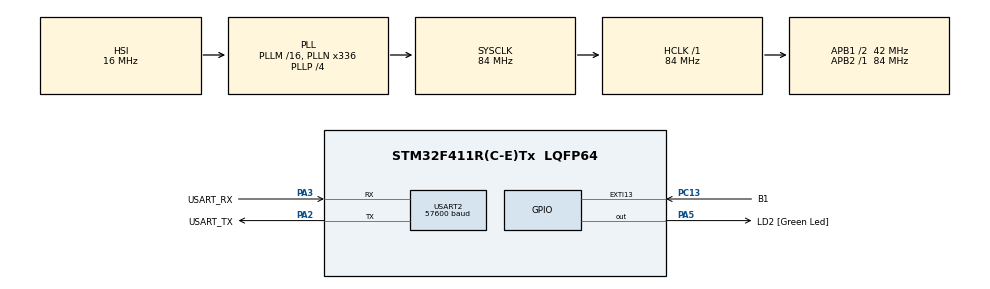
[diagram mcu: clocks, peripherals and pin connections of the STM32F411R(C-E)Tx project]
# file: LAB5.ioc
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Dma.Request0=USART2_RX
Dma.Request1=USART2_TX
Dma.USART2_RX.0.Direction=DMA_PERIPH_TO_MEMORY
Dma.USART2_RX.0.FIFOMode=DMA_FIFOMODE_DISABLE
Dma.USART2_RX.0.Instance=DMA1_Stream5
Dma.USART2_RX.0.MemDataAlignment=DMA_MDATAALIGN_BYTE
Dma.USART2_RX.0.MemInc=DMA_MINC_ENABLE
Dma.USART2_RX.0.Mode=DMA_CIRCULAR
Dma.USART2_RX.0.PeriphDataAlignment=DMA_PDATAALIGN_BYTE
Dma.USART2_RX.0.PeriphInc=DMA_PINC_DISABLE
Dma.USART2_RX.0.Priority=DMA_PRIORITY_LOW
Dma.USART2_TX.1.Direction=DMA_MEMORY_TO_PERIPH
Dma.USART2_TX.1.FIFOMode=DMA_FIFOMODE_DISABLE
Dma.USART2_TX.1.Instance=DMA1_Stream6
Dma.USART2_TX.1.MemDataAlignment=DMA_MDATAALIGN_BYTE
Dma.USART2_TX.1.MemInc=DMA_MINC_ENABLE
Dma.USART2_TX.1.Mode=DMA_NORMAL
Dma.USART2_TX.1.PeriphDataAlignment=DMA_PDATAALIGN_BYTE
Dma.USART2_TX.1.PeriphInc=DMA_PINC_DISABLE
Dma.USART2_TX.1.Priority=DMA_PRIORITY_LOW
Mcu.Family=STM32F4
Mcu.Name=STM32F411R(C-E)Tx
Mcu.Package=LQFP64
NVIC.DMA1_Stream5_IRQn=true\:0\:0\:false\:false\:true\:false\:true\:true
NVIC.DMA1_Stream6_IRQn=true\:0\:0\:false\:false\:true\:false\:true\:true
NVIC.PriorityGroup=NVIC_PRIORITYGROUP_0
NVIC.USART2_IRQn=true\:0\:0\:false\:false\:true\:true\:true\:true
PA13.GPIO_Label=TMS
PA13.Mode=Serial_Wire
PA13.Signal=SYS_JTMS-SWDIO
PA14.GPIO_Label=TCK
PA14.Mode=Serial_Wire
PA14.Signal=SYS_JTCK-SWCLK
PA2.GPIO_Label=USART_TX
PA2.Mode=Asynchronous
PA2.Signal=USART2_TX
PA3.GPIO_Label=USART_RX
PA3.Mode=Asynchronous
PA3.Signal=USART2_RX
PA5.GPIO_Label=LD2 [Green Led]
PA5.Signal=GPIO_Output
PB3.GPIO_Label=SWO
PB3.Signal=SYS_JTDO-SWO
PC13-ANTI_TAMP.GPIO_Label=B1
PC13-ANTI_TAMP.Signal=GPXTI13
PC14-OSC32_IN.Mode=LSE-External-Oscillator
PC14-OSC32_IN.Signal=RCC_OSC32_IN
PC15-OSC32_OUT.Mode=LSE-External-Oscillator
PC15-OSC32_OUT.Signal=RCC_OSC32_OUT
PH0\ -\ OSC_IN.Mode=HSE-External-Clock-Source
PH0\ -\ OSC_IN.Signal=RCC_OSC_IN
PH1\ -\ OSC_OUT.Mode=HSE-External-Clock-Source
PH1\ -\ OSC_OUT.Signal=RCC_OSC_OUT
ProjectManager.HeapSize=0x200
ProjectManager.StackSize=0x400
ProjectManager.TargetToolchain=STM32CubeIDE
RCC.48MHZClocksFreq_Value=84000000
RCC.AHBFreq_Value=84000000
RCC.APB1CLKDivider=RCC_HCLK_DIV2
RCC.APB1Freq_Value=42000000
RCC.APB1TimFreq_Value=84000000
RCC.APB2Freq_Value=84000000
RCC.APB2TimFreq_Value=84000000
RCC.CortexFreq_Value=84000000
RCC.FLatency-AdvancedSettings=FLASH_LATENCY_2
RCC.HCLKFreq_Value=84000000
RCC.HSE_VALUE=8000000
RCC.HSI_VALUE=16000000
RCC.PLLN=336
RCC.PLLP=RCC_PLLP_DIV4
RCC.SYSCLKFreq_VALUE=84000000
RCC.SYSCLKSource=RCC_SYSCLKSOURCE_PLLCLK
RCC.VCOOutputFreq_Value=336000000
USART2.BaudRate=57600
USART2.VirtualMode=VM_ASYNC
board=NUCLEO-F411RE

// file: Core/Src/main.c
/* USER CODE BEGIN Header */
/**
  ******************************************************************************
  * @file           : main.c
  * @brief          : Main program body
  ******************************************************************************
  * @attention
  *
  * Copyright (c) 2023 STMicroelectronics.
  * All rights reserved.
  *
  * This software is licensed under terms that can be found in the LICENSE file
  * in the root directory of this software component.
  * If no LICENSE file comes with this software, it is provided AS-IS.
  *
  ******************************************************************************
  */
/* USER CODE END Header */
#include "main.h"

/* USER CODE BEGIN Includes */
#include "stdio.h"
#include "string.h"
/* USER CODE END Includes */

UART_HandleTypeDef huart2;
DMA_HandleTypeDef hdma_usart2_rx;
DMA_HandleTypeDef hdma_usart2_tx;

/* USER CODE BEGIN PV */
uint8_t RxBuffer[1];
uint8_t TxBuffer[300];
uint16_t LEDHz = 1;
int ledstatus = 1;
uint8_t status;
uint8_t last_status;
/* USER CODE END PV */

void SystemClock_Config(void);
static void MX_GPIO_Init(void);
static void MX_DMA_Init(void);
static void MX_USART2_UART_Init(void);
/* USER CODE BEGIN PFP */
void MenuState();
void LEDLoop();
void UARTInterruptConfig();
void UARTDMAConfig();

/* USER CODE END PFP */

int main(void)
{

  /* MCU Configuration--------------------------------------------------------*/

  /* Reset of all peripherals, Initializes the Flash interface and the Systick. */
  HAL_Init();

  /* Configure the system clock */
  SystemClock_Config();

  /* Initialize all configured peripherals */
  MX_GPIO_Init();
  MX_DMA_Init();
  MX_USART2_UART_Init();
  /* USER CODE BEGIN 2 */

  UARTDMAConfig();
  MenuState();
  sprintf((char*)TxBuffer,"Choose your menu\r\n-----------------\r\n{0} LED Control\r\n{1} Button Status\r\n-----------------\r\n\r\n\r\n\r\n\r\n");
  HAL_UART_Transmit_DMA(&huart2, TxBuffer, strlen((char*)TxBuffer));
  /* USER CODE END 2 */

  /* Infinite loop */
  /* USER CODE BEGIN WHILE */
  while (1)
  {
//	  MenuState();
	  MenuState();
	  LEDLoop();

//	  HAL_GPIO_TogglePin(GPIOA, GPIO_PIN_0);
    /* USER CODE END WHILE */

  }
}

void SystemClock_Config(void)
{
  RCC_OscInitTypeDef RCC_OscInitStruct = {0};
  RCC_ClkInitTypeDef RCC_ClkInitStruct = {0};

  /** Configure the main internal regulator output voltage
  */
  __HAL_RCC_PWR_CLK_ENABLE();
  __HAL_PWR_VOLTAGESCALING_CONFIG(PWR_REGULATOR_VOLTAGE_SCALE1);

  /** Initializes the RCC Oscillators according to the specified parameters
  * in the RCC_OscInitTypeDef structure.
  */
  RCC_OscInitStruct.OscillatorType = RCC_OSCILLATORTYPE_HSI;
  RCC_OscInitStruct.HSIState = RCC_HSI_ON;
  RCC_OscInitStruct.HSICalibrationValue = RCC_HSICALIBRATION_DEFAULT;
  RCC_OscInitStruct.PLL.PLLState = RCC_PLL_ON;
  RCC_OscInitStruct.PLL.PLLSource = RCC_PLLSOURCE_HSI;
  RCC_OscInitStruct.PLL.PLLM = 16;
  RCC_OscInitStruct.PLL.PLLN = 336;
  RCC_OscInitStruct.PLL.PLLP = RCC_PLLP_DIV4;
  RCC_OscInitStruct.PLL.PLLQ = 4;
  if (HAL_RCC_OscConfig(&RCC_OscInitStruct) != HAL_OK)
  {
    Error_Handler();
  }

  /** Initializes the CPU, AHB and APB buses clocks
  */
  RCC_ClkInitStruct.ClockType = RCC_CLOCKTYPE_HCLK|RCC_CLOCKTYPE_SYSCLK
                              |RCC_CLOCKTYPE_PCLK1|RCC_CLOCKTYPE_PCLK2;
  RCC_ClkInitStruct.SYSCLKSource = RCC_SYSCLKSOURCE_PLLCLK;
  RCC_ClkInitStruct.AHBCLKDivider = RCC_SYSCLK_DIV1;
  RCC_ClkInitStruct.APB1CLKDivider = RCC_HCLK_DIV2;
  RCC_ClkInitStruct.APB2CLKDivider = RCC_HCLK_DIV1;

  if (HAL_RCC_ClockConfig(&RCC_ClkInitStruct, FLASH_LATENCY_2) != HAL_OK)
  {
    Error_Handler();
  }
}

static void MX_USART2_UART_Init(void)
{

  huart2.Instance = USART2;
  huart2.Init.BaudRate = 57600;
  huart2.Init.WordLength = UART_WORDLENGTH_8B;
  huart2.Init.StopBits = UART_STOPBITS_1;
  huart2.Init.Parity = UART_PARITY_NONE;
  huart2.Init.Mode = UART_MODE_TX_RX;
  huart2.Init.HwFlowCtl = UART_HWCONTROL_NONE;
  huart2.Init.OverSampling = UART_OVERSAMPLING_16;
  if (HAL_UART_Init(&huart2) != HAL_OK)
  {
    Error_Handler();
  }

}

static void MX_DMA_Init(void)
{

  /* DMA controller clock enable */
  __HAL_RCC_DMA1_CLK_ENABLE();

  /* DMA interrupt init */
  /* DMA1_Stream5_IRQn interrupt configuration */
  HAL_NVIC_SetPriority(DMA1_Stream5_IRQn, 0, 0);
  HAL_NVIC_EnableIRQ(DMA1_Stream5_IRQn);
  /* DMA1_Stream6_IRQn interrupt configuration */
  HAL_NVIC_SetPriority(DMA1_Stream6_IRQn, 0, 0);
  HAL_NVIC_EnableIRQ(DMA1_Stream6_IRQn);

}

static void MX_GPIO_Init(void)
{
  GPIO_InitTypeDef GPIO_InitStruct = {0};

  /* GPIO Ports Clock Enable */
  __HAL_RCC_GPIOC_CLK_ENABLE();
  __HAL_RCC_GPIOH_CLK_ENABLE();
  __HAL_RCC_GPIOA_CLK_ENABLE();
  __HAL_RCC_GPIOB_CLK_ENABLE();

  /*Configure GPIO pin Output Level */
  HAL_GPIO_WritePin(LD2_GPIO_Port, LD2_Pin, GPIO_PIN_RESET);

  /*Configure GPIO pin : B1_Pin */
  GPIO_InitStruct.Pin = B1_Pin;
  GPIO_InitStruct.Mode = GPIO_MODE_IT_RISING;
  GPIO_InitStruct.Pull = GPIO_NOPULL;
  HAL_GPIO_Init(B1_GPIO_Port, &GPIO_InitStruct);

  /*Configure GPIO pin : LD2_Pin */
  GPIO_InitStruct.Pin = LD2_Pin;
  GPIO_InitStruct.Mode = GPIO_MODE_OUTPUT_PP;
  GPIO_InitStruct.Pull = GPIO_NOPULL;
  GPIO_InitStruct.Speed = GPIO_SPEED_FREQ_LOW;
  HAL_GPIO_Init(LD2_GPIO_Port, &GPIO_InitStruct);

}

/* USER CODE BEGIN 4 */

void UARTDMAConfig()
{
	//start UART in DMA mode
	HAL_UART_Receive_DMA(&huart2, RxBuffer, 1);

}

void HAL_UART_RxCpltCallback(UART_HandleTypeDef *huart)
{
	if(huart == &huart2 )
	{
		//(for string only) Add string stop symbol \0 to end string
		RxBuffer[1] = '\0';
	}
}

void LEDLoop()
{
	static uint32_t timestamp = 0;
		if(HAL_GetTick() >= timestamp && ledstatus == 1)
		{
			timestamp = HAL_GetTick() + (1000/(LEDHz * 2));
			HAL_GPIO_TogglePin(LD2_GPIO_Port, LD2_Pin);
		}
}

void MenuState()
{
	static enum
		{
			Menu,
			LEDControl,
			buttonStatus,
		}State = Menu;

			switch(State)
			{
			case Menu:

				if(RxBuffer[0] == '0'){
					sprintf((char*)TxBuffer,"\r\n[ LED Control ]\r\n---------------\r\n{a} + 1 LED Hz\r\n{s} - 1 LED Hz\r\n{d} Turn on/off\r\n{x} back \r\n---------------\r\n\r\n\r\n\r\n");
					HAL_UART_Transmit_DMA(&huart2, TxBuffer, strlen((char*)TxBuffer));
					RxBuffer[0] = '\000';
					State = LEDControl;
				}
				else if(RxBuffer[0] == '1'){

					sprintf((char*)TxBuffer,"[Button Status]\r\n-----------------\r\nButton 1 is not pressed\r\n{x} back\r\n-----------------\r\n\r\n\r\n\r\n\r\n");
					HAL_UART_Transmit_DMA(&huart2, TxBuffer, strlen((char*)TxBuffer));
					RxBuffer[0] = '\000';
					State = buttonStatus;
				}
				else if(RxBuffer[0] != '0' && RxBuffer[0] != '1' && RxBuffer[0] != 'x' && RxBuffer[0] != '\000' && RxBuffer[0] != '\0'){
					RxBuffer[0] = '\000';
					sprintf((char*)TxBuffer,"  Choose your menu\r\n-----------------\r\n{0} LED Control\r\n{1} Button Status\r\n-------------------\r\n!!!Wrong button!!!\r\n\r\n\r\n\r\n");
					HAL_UART_Transmit_DMA(&huart2, TxBuffer, strlen((char*)TxBuffer));
				}
			break;

			case LEDControl:
				if(RxBuffer[0] == 'a'){
					LEDHz += 1;
					RxBuffer[0] = '\000';
					sprintf((char*)TxBuffer,"\r\n[ LED Control ]\r\n---------------\r\n{a} + 1 LED Hz\r\n{s} - 1 LED Hz\r\n{d} Turn on/off\r\n{x} back \r\n---------------\r\nLED Hz set to %d\r\n\r\n\r\n", LEDHz);
					HAL_UART_Transmit_DMA(&huart2, TxBuffer, strlen((char*)TxBuffer));

				}
				else if(RxBuffer[0] == 's'){
					if (LEDHz > 1){
					LEDHz -= 1;
					}
					RxBuffer[0] = '\000';
					sprintf((char*)TxBuffer,"\r\n[ LED Control ]\r\n---------------\r\n{a} + 1 LED Hz\r\n{s} - 1 LED Hz\r\n{d} Turn on/off\r\n{x} back \r\n---------------\r\nLED Hz set to %d\r\n\r\n\r\n", LEDHz);
					HAL_UART_Transmit_DMA(&huart2, TxBuffer, strlen((char*)TxBuffer));

				}
				else if(RxBuffer[0] == 'd'){
					if(ledstatus == 1){
						RxBuffer[0] = '\000';

						ledstatus = 0;
						HAL_GPIO_WritePin(LD2_GPIO_Port, LD2_Pin, GPIO_PIN_RESET);
						sprintf((char*)TxBuffer,"\r\n[ LED Control ]\r\n---------------\r\n{a} + 1 LED Hz\r\n{s} - 1 LED Hz\r\n{d} Turn on/off\r\n{x} back \r\n---------------\r\nLED turned off\r\n\r\n\r\n", LEDHz);
						HAL_UART_Transmit_DMA(&huart2, TxBuffer, strlen((char*)TxBuffer));
					}
					else if(ledstatus == 0){
						RxBuffer[0] = '\000';

						ledstatus = 1;
						sprintf((char*)TxBuffer,"\r\n[ LED Control ]\r\n---------------\r\n{a} + 1 LED Hz\r\n{s} - 1 LED Hz\r\n{d} Turn on/off\r\n{x} back \r\n---------------\r\nLED turned on\r\nLED Hz set to %d\r\n\r\n", LEDHz);
						HAL_UART_Transmit_DMA(&huart2, TxBuffer, strlen((char*)TxBuffer));
					}

				}

				else if(RxBuffer[0] == 'x'){
					RxBuffer[0] = '\000';

					  sprintf((char*)TxBuffer,"Choose your menu\r\n-----------------\r\n{0} LED Control\r\n{1} Button Status\r\n-----------------\r\n\r\n\r\n\r\n\r\n");
				    HAL_UART_Transmit_DMA(&huart2, TxBuffer, strlen((char*)TxBuffer));
					State = Menu;
				}
				else if(RxBuffer[0] != 'a' && RxBuffer[0] != 's' && RxBuffer[0] != 'd' && RxBuffer[0] != 'x' && RxBuffer[0] != '\000' && RxBuffer[0] != '\0'){
					sprintf((char*)TxBuffer,"\r\n[ LED Control ]\r\n---------------\r\n{a} + 1 LED Hz\r\n{s} - 1 LED Hz\r\n{d} Turn on/off\r\n{x} back \r\n---------------\r\n!!!Wrong button!!!\r\n\r\n\r\n", LEDHz);
					HAL_UART_Transmit_DMA(&huart2, TxBuffer, strlen((char*)TxBuffer));
					RxBuffer[0] = '\000';

				}
			break;

			case buttonStatus:
				status = HAL_GPIO_ReadPin(GPIOC, GPIO_PIN_13);
				if(!status && status != last_status){
					sprintf((char*)TxBuffer,"[Button Status]\r\n-----------------\r\nButton 1 is pressed\r\n{x} back\r\n-----------------\r\n\r\n\r\n\r\n\r\n");
					HAL_UART_Transmit_DMA(&huart2, TxBuffer, strlen((char*)TxBuffer));

				}
				else if(status && status != last_status){
					sprintf((char*)TxBuffer,"[Button Status]\r\n-----------------\r\nButton 1 is not pressed\r\n{x} back\r\n-----------------\r\n\r\n\r\n\r\n\r\n");
					HAL_UART_Transmit_DMA(&huart2, TxBuffer, strlen((char*)TxBuffer));

				}

				else if(RxBuffer[0] == 'x'){

					  sprintf((char*)TxBuffer,"Choose your menu\r\n-----------------\r\n{0} LED Control\r\n{1} Button Status\r\n-----------------\r\n\r\n\r\n\r\n\r\n");
					HAL_UART_Transmit_DMA(&huart2, TxBuffer, strlen((char*)TxBuffer));
					RxBuffer[0] = '\000';

					State = Menu;
				}
				else if(RxBuffer[0] != 'x' && RxBuffer[0] != '\000' && RxBuffer[0] != '\0'){
					sprintf((char*)TxBuffer,"[Button Status]\r\n-----------------\r\nButton 1 is not pressed\r\n{x} back\r\n-----------------\r\n!!!Wrong button!!!\r\n\r\n\r\n\r\n");
					HAL_UART_Transmit_DMA(&huart2, TxBuffer, strlen((char*)TxBuffer));
					RxBuffer[0] = '\000';

				}
				last_status = status;
			break;

			}

}
//HAL_GPIO_EXTI_Callback(uint16_t GPIO_Pin)
//{
//	if(GPIO_Pin == GPIO_PIN_13 && buttonstatusmode == 1)
//	{
//		if(HAL_GPIO_ReadPin(GPIOC, GPIO_PIN_13) == GPIO_PIN_RESET ){
//			sprintf((char*)TxBuffer,"[Button Status]\r\n-----------------\r\nButton 1 is pressed\r\n{x} back\r\n-----------------\r\n\r\n\r\n\r\n\r\n");
//			HAL_UART_Transmit_DMA(&huart2, TxBuffer, strlen((char*)TxBuffer));
//
//		}
//		else if(HAL_GPIO_ReadPin(GPIOC, GPIO_PIN_13) == GPIO_PIN_SET ){
//			sprintf((char*)TxBuffer,"[Button Status]\r\n-----------------\r\nButton 1 is not pressed\r\n{x} back\r\n-----------------\r\n\r\n\r\n\r\n\r\n");
//			HAL_UART_Transmit_DMA(&huart2, TxBuffer, strlen((char*)TxBuffer));
//
//		}
//	}
//}
/* USER CODE END 4 */

void Error_Handler(void)
{
  __disable_irq();
  while (1)
  {
  }
}
